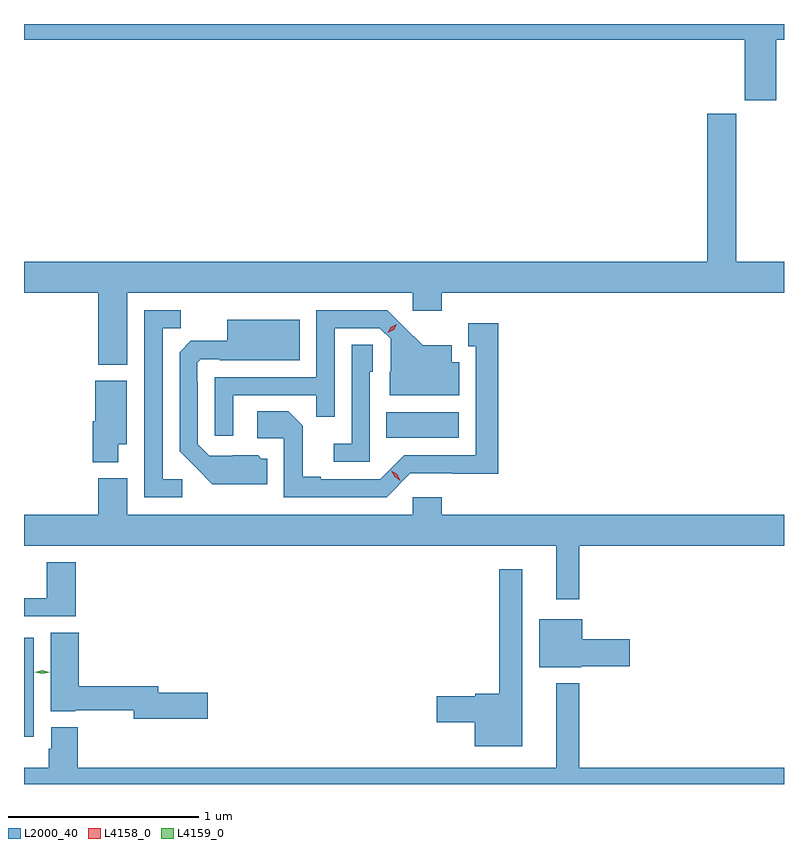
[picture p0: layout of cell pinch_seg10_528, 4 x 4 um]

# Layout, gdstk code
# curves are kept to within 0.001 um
import gdstk
lib = gdstk.Library(unit=1e-6, precision=1e-09)
def R(c, l, rs):  # rectangles x0, y0, x1, y1
    for r in rs: c.add(gdstk.rectangle(r[:2], r[2:], *l))
def P(c, l, *ps):  # polygons
    for p in ps: c.add(gdstk.Polygon(p, *l))
L2000_40 = (2000, 40)
L4158_0 = (4158, 0)
L4159_0 = (4159, 0)

pinch_seg10_528 = lib.new_cell('pinch_seg10_528')
R(pinch_seg10_528, L2000_40, [(303.96,1260.684,304.012,1261.204), (305.866,1262.258,306.247,1262.392)])
P(pinch_seg10_528, L2000_40, [(307.918,1264.352),(307.96,1264.352),(307.96,1264.435),(303.96,1264.435),(303.96,1264.352),(307.754,1264.352),(307.754,1264.035),(307.918,1264.035)],
  [(304.504,1263.02),(306.006,1263.02),(306.006,1262.925),(306.158,1262.925),(306.158,1263.02),(307.96,1263.02),(307.96,1263.184),(307.708,1263.184),(307.708,1263.963),(307.556,1263.963),(307.556,1263.184),(303.96,1263.184),(303.96,1263.02),(304.352,1263.02),(304.352,1262.642),(304.504,1262.642)],
  [(304.792,1262.04),(304.689,1262.04),(304.689,1262.833),(304.785,1262.833),(304.785,1262.928),(304.593,1262.928),(304.593,1261.944),(304.792,1261.944)],
  [(305.061,1262.481),(305.497,1262.481),(305.497,1262.368),(305.595,1262.368),(305.595,1262.835),(305.832,1262.835),(305.889,1262.778),(305.889,1262.604),(305.885,1262.604),(305.885,1262.48),(306.25,1262.48),(306.25,1262.656),(306.211,1262.656),(306.211,1262.743),(306.059,1262.743),(305.872,1262.928),(305.499,1262.928),(305.499,1262.577),(304.965,1262.577),(304.965,1262.268),(305.061,1262.268)],
  [(305.239,1262.148),(305.208,1262.148),(305.192,1262.164),(304.935,1262.163),(304.875,1262.223),(304.875,1262.552),(304.872,1262.552),(304.872,1262.652),(304.89,1262.67),(304.99,1262.67),(304.99,1262.666),(305.41,1262.666),(305.41,1262.878),(305.03,1262.878),(305.03,1262.767),(304.838,1262.767),(304.779,1262.708),(304.779,1262.186),(304.951,1262.012),(305.239,1262.012)],
  [(305.994,1262.07),(306.457,1262.069),(306.457,1262.86),(306.299,1262.86),(306.299,1262.739),(306.338,1262.739),(306.338,1262.166),(305.961,1262.166),(305.835,1262.04),(305.521,1262.04),(305.521,1262.053),(305.427,1262.053),(305.427,1262.32),(305.351,1262.396),(305.187,1262.396),(305.187,1262.256),(305.328,1262.256),(305.328,1261.944),(305.868,1261.944)],
  [(305.781,1262.604),(305.796,1262.604),(305.796,1262.747),(305.685,1262.747),(305.685,1262.227),(305.589,1262.227),(305.589,1262.13),(305.781,1262.13)],
  [(304.456,1262.222),(304.501,1262.222),(304.501,1262.557),(304.334,1262.557),(304.334,1262.343),(304.322,1262.343),(304.322,1262.129),(304.456,1262.129)],
  [(306.883,1261.688),(307.96,1261.688),(307.96,1261.852),(306.158,1261.852),(306.158,1261.945),(306.006,1261.945),(306.006,1261.852),(304.504,1261.852),(304.504,1262.044),(304.352,1262.044),(304.352,1261.852),(303.96,1261.852),(303.96,1261.688),(306.761,1261.688),(306.761,1261.407),(306.883,1261.407)],
  [(304.232,1261.603),(304.079,1261.603),(304.079,1261.413),(303.96,1261.413),(303.96,1261.317),(304.232,1261.317)],
  [(306.583,1261.564),(306.462,1261.564),(306.462,1260.911),(306.336,1260.911),(306.336,1260.896),(306.132,1260.896),(306.132,1260.761),(306.332,1260.761),(306.332,1260.635),(306.583,1260.635)],
  [(306.894,1261.055),(307.147,1261.055),(307.147,1261.197),(306.898,1261.197),(306.898,1261.303),(306.671,1261.303),(306.671,1261.049),(306.894,1261.049)],
  [(304.927,1260.914),(304.666,1260.914),(304.666,1260.95),(304.247,1260.95),(304.247,1261.232),(304.1,1261.232),(304.1,1260.818),(304.23,1260.818),(304.23,1260.822),(304.538,1260.822),(304.538,1260.779),(304.927,1260.779)],
  [(307.96,1260.52),(306.883,1260.52),(306.883,1260.964),(306.761,1260.964),(306.761,1260.52),(304.244,1260.52),(304.244,1260.733),(304.103,1260.733),(304.103,1260.621),(304.091,1260.621),(304.091,1260.52),(303.96,1260.52),(303.96,1260.435),(307.96,1260.435)])
P(pinch_seg10_528, L4158_0, [(305.874,1262.809),(305.874,1262.81),(305.891,1262.839),(305.922,1262.855),(305.922,1262.855),(305.922,1262.854),(305.905,1262.825),(305.874,1262.809)],
  [(305.941,1262.032),(305.91,1262.051),(305.892,1262.083),(305.892,1262.084),(305.893,1262.084),(305.924,1262.064),(305.941,1262.032),(305.941,1262.032)])
P(pinch_seg10_528, L4159_0, [(304.056,1261.014),(304.016,1261.023),(304.016,1261.024),(304.016,1261.024),(304.055,1261.034),(304.095,1261.024),(304.095,1261.024),(304.095,1261.024)])

lib.write_gds('pinch_seg10_528.gds')
